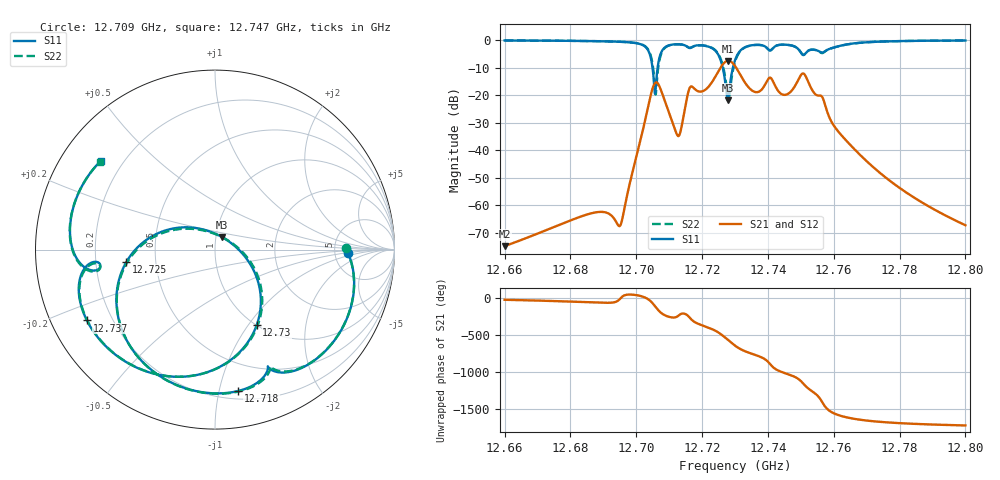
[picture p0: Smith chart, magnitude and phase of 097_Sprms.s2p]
! TOUCHSTONE file generated by CST MICROWAVE STUDIO
! Date and time: Wed Jul 31 15:38:24 2024
! Project name: WaveGuide_BPF-Ver4.1_U-shape_Ku_T3_C4_CWA_2.cst
! Parameters = {cavity_h=16; cavity_l0=10; cavity_l1=15.1961; cavity_l2=16.8109; cavity_l3=17.1342; cavity_l4=17.2889; cavity_l5=17.0906; cavity_l6=17.5918; cavity_r=2.5; cavity_screw_l=0.5; cavity_screw_r=1.5; cavity_w=8; iris_h00=0; iris_h01=8.8365; iris_h112=0; iris_h12=5.5876; iris_h211=3.656; i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
! Header version: 2018
! Port assignment regex: !\s*Touchstone port\s*([0-9]+)\s*=\s*(CST MWS port|CST DS port)\s*([0-9]+|Zmin|Zmax)\s*\(\"(.*)\"\)(\s*mode\s*([0-9]+))?.*
! Touchstone port assignment:
! Touchstone port 1 = CST MWS port 1 ("")
! Touchstone port 2 = CST MWS port 2 ("")
# GHz S RI R 50
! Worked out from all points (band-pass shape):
!   5001 points, 12.66 GHz to 12.8 GHz, reference 50 ohm
!   highest |S21| = -7.57 dB at 12.728 GHz (marker M1); lowest = -74.9 dB at 12.66 GHz (marker M2)
!   |S21| within 3 dB of the highest: 12.72532 GHz to 12.73061 GHz (5.287 MHz wide, 0.0415 % of centre)
!   lowest |S11| = -21.9 dB at 12.728 GHz (marker M3), VSWR 1.17, Z = 53.4 + j7.55 ohm
!   |S11| at or under -10 dB: 12.70494 GHz to 12.70649 GHz (1.554 MHz wide, 0.0122 % of centre); 12.72627 GHz to 12.72938 GHz (3.109 MHz wide, 0.0244 % of centre)
!   |S22| runs from -21.9 to -0.2 dB; largest |S21 - S12| = 1e-09
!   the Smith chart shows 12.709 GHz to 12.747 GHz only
!   S11 on the Smith chart (normalised r, x): 12.709 GHz: 6.71, -0.61; 12.718 GHz: 0.26, -1.14; 12.725 GHz: 0.34, -0.06; 12.73 GHz: 1.00, -1.10; 12.737 GHz: 0.11, -0.26; 12.747 GHz: 0.12, +0.34
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12.66  0.3463 0.9178  0.000164 -7.43e-05  0.000164 -7.43e-05  0.3492 0.9168
12.68335  0.7452 0.6067  0.000366 -0.000511  0.000366 -0.000511  0.7457 0.6066
12.69517  0.9172 0.1376  0.000428 -4.59e-05  0.000428 -4.59e-05  0.9175 0.1413
12.70346  0.461 -0.4889  0.0547 -0.0122  0.0547 -0.0122  0.4908 -0.4893
12.70558  0.0901 -0.0735  -0.0398 -0.1571  -0.0398 -0.1571  0.08 -0.1359
12.70668  0.3248 0.1856  -0.1521 -0.0449  -0.1521 -0.0449  0.2689 0.1685
12.7088  0.742 -0.0203  -0.0416 0.0614  -0.0416 0.0614  0.7287 0.00742
12.71278  0.6326 -0.546  -0.00895 0.0156  -0.00895 0.0156  0.644 -0.5319
12.71614  0.2947 -0.6519  -0.0215 0.1293  -0.0215 0.1293  0.3097 -0.6511
12.71849  0.1303 -0.7875  0.1136 0.037  0.1136 0.037  0.145 -0.7874
12.72521  -0.4938 -0.0691  -0.1137 -0.2652  -0.1137 -0.2652  -0.5086 -0.1079
12.72779  0.0384 0.0702  -0.3833 0.166  -0.3833 0.166  -0.0134 0.092
12.72796  0.0692 0.0512  -0.3632 0.2077  -0.3632 0.2077  0.0202 0.0787
12.73  0.2513 -0.3453  0.0777 0.3289  0.0777 0.3289  0.2627 -0.3007
12.73034  0.2319 -0.4221  0.1277 0.288  0.1277 0.288  0.2502 -0.383
12.73722  -0.7138 -0.3946  0.0473 -0.1048  0.0473 -0.1048  -0.7065 -0.4049
12.74666  -0.6358 0.4946  0.0816 0.0756  0.0816 0.0756  -0.6419 0.4885
12.75335  0.1495 0.6503  -0.1261 -0.00819  -0.1261 -0.00819  0.1421 0.6536
12.75828  0.6598 -0.1361  0.0172 -0.0416  0.0172 -0.0416  0.6594 -0.1145
12.76298  0.11 -0.802  -0.0159 -0.0056  -0.0159 -0.0056  0.1214 -0.7981
12.77668  -0.8679 -0.3755  -0.00145 0.0025  -0.00145 0.0025  -0.8675 -0.3755
12.8  -0.9513 0.233  7.5e-05 0.000426  7.5e-05 0.000426  -0.9504 0.2363
